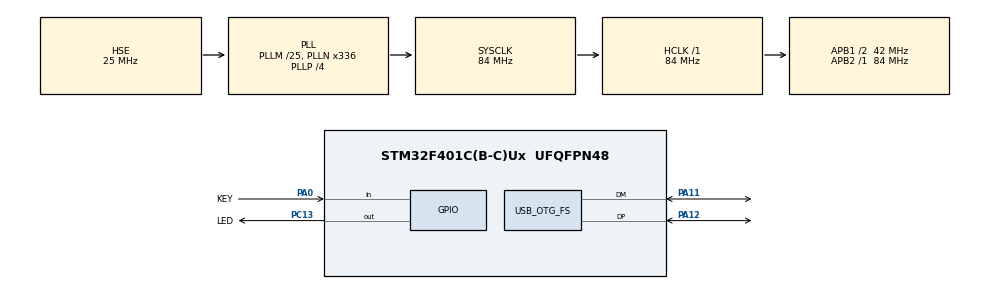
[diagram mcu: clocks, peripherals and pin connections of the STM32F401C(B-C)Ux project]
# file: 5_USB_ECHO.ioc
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Mcu.Family=STM32F4
Mcu.Name=STM32F401C(B-C)Ux
Mcu.Package=UFQFPN48
NVIC.OTG_FS_IRQn=true\:0\:0\:false\:false\:true\:false\:true
NVIC.PriorityGroup=NVIC_PRIORITYGROUP_4
PA0-WKUP.GPIO_Label=KEY
PA0-WKUP.GPIO_PuPd=GPIO_PULLUP
PA0-WKUP.Signal=GPIO_Input
PA11.Mode=Device_Only
PA11.Signal=USB_OTG_FS_DM
PA12.Mode=Device_Only
PA12.Signal=USB_OTG_FS_DP
PA13.Mode=Serial_Wire
PA13.Signal=SYS_JTMS-SWDIO
PA14.Mode=Serial_Wire
PA14.Signal=SYS_JTCK-SWCLK
PC13-ANTI_TAMP.GPIO_Label=LED
PC13-ANTI_TAMP.PinState=GPIO_PIN_SET
PC13-ANTI_TAMP.Signal=GPIO_Output
PH0\ -\ OSC_IN.Mode=HSE-External-Oscillator
PH0\ -\ OSC_IN.Signal=RCC_OSC_IN
PH1\ -\ OSC_OUT.Mode=HSE-External-Oscillator
PH1\ -\ OSC_OUT.Signal=RCC_OSC_OUT
ProjectManager.HeapSize=0x200
ProjectManager.StackSize=0x400
ProjectManager.TargetToolchain=STM32CubeIDE
RCC.48MHZClocksFreq_Value=48000000
RCC.AHBFreq_Value=84000000
RCC.APB1CLKDivider=RCC_HCLK_DIV2
RCC.APB1Freq_Value=42000000
RCC.APB1TimFreq_Value=84000000
RCC.APB2Freq_Value=84000000
RCC.APB2TimFreq_Value=84000000
RCC.CortexFreq_Value=84000000
RCC.HCLKFreq_Value=84000000
RCC.HSE_VALUE=25000000
RCC.HSI_VALUE=16000000
RCC.LSE_VALUE=32768
RCC.PLLM=25
RCC.PLLN=336
RCC.PLLP=RCC_PLLP_DIV4
RCC.PLLQ=7
RCC.SYSCLKFreq_VALUE=84000000
RCC.SYSCLKSource=RCC_SYSCLKSOURCE_PLLCLK
RCC.VCOOutputFreq_Value=336000000
USB_DEVICE.CLASS_NAME_FS=CDC
USB_DEVICE.VirtualMode=Cdc
USB_DEVICE.VirtualModeFS=Cdc_FS
USB_OTG_FS.VirtualMode=Device_Only
VP_USB_DEVICE_VS_USB_DEVICE_CDC_FS.Mode=CDC_FS
board=custom

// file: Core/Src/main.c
/* USER CODE BEGIN Header */
/**
  ******************************************************************************
  * @file           : main.c
  * @brief          : Main program body
  ******************************************************************************
  * @attention
  *
  * Copyright (c) 2022 STMicroelectronics.
  * All rights reserved.
  *
  * This software is licensed under terms that can be found in the LICENSE file
  * in the root directory of this software component.
  * If no LICENSE file comes with this software, it is provided AS-IS.
  *
  ******************************************************************************
  */
/* USER CODE END Header */
#include "main.h"
#include "usb_device.h"
#include "gpio.h"

/* USER CODE BEGIN Includes */
#include "string.h"
/* USER CODE END Includes */

/* USER CODE BEGIN PV */
uint8_t buffer[64];
uint8_t *data = "Hello ARM\n";
uint8_t sFlag = 0;
/* USER CODE END PV */

void SystemClock_Config(void);

/* USER CODE BEGIN 0 */
void HAL_IncTick(void)
{
	uwTick += uwTickFreq;

	if (uwTick % 1000 == 0) {
		sFlag = 1;
	}
}
/* USER CODE END 0 */

int main(void)
{

  /* MCU Configuration--------------------------------------------------------*/

  /* Reset of all peripherals, Initializes the Flash interface and the Systick. */
  HAL_Init();

  /* Configure the system clock */
  SystemClock_Config();

  /* Initialize all configured peripherals */
  MX_GPIO_Init();
  MX_USB_DEVICE_Init();

  /* Infinite loop */
  /* USER CODE BEGIN WHILE */
  while (1)
  {
	  if (buffer[0] == '1') {
		  HAL_GPIO_WritePin(LED_GPIO_Port, LED_Pin, GPIO_PIN_RESET);
	  } else {
		  HAL_GPIO_WritePin(LED_GPIO_Port, LED_Pin, GPIO_PIN_SET);
	  }

	  if (sFlag) {
		  sFlag = 0;

		  CDC_Transmit_FS(data, strlen(data));
	  }
    /* USER CODE END WHILE */

    /* USER CODE BEGIN 3 */
	  __NOP();
  }
  /* USER CODE END 3 */
}

void SystemClock_Config(void)
{
  RCC_OscInitTypeDef RCC_OscInitStruct = {0};
  RCC_ClkInitTypeDef RCC_ClkInitStruct = {0};

  /** Configure the main internal regulator output voltage
  */
  __HAL_RCC_PWR_CLK_ENABLE();
  __HAL_PWR_VOLTAGESCALING_CONFIG(PWR_REGULATOR_VOLTAGE_SCALE2);
  /** Initializes the RCC Oscillators according to the specified parameters
  * in the RCC_OscInitTypeDef structure.
  */
  RCC_OscInitStruct.OscillatorType = RCC_OSCILLATORTYPE_HSE;
  RCC_OscInitStruct.HSEState = RCC_HSE_ON;
  RCC_OscInitStruct.PLL.PLLState = RCC_PLL_ON;
  RCC_OscInitStruct.PLL.PLLSource = RCC_PLLSOURCE_HSE;
  RCC_OscInitStruct.PLL.PLLM = 25;
  RCC_OscInitStruct.PLL.PLLN = 336;
  RCC_OscInitStruct.PLL.PLLP = RCC_PLLP_DIV4;
  RCC_OscInitStruct.PLL.PLLQ = 7;
  if (HAL_RCC_OscConfig(&RCC_OscInitStruct) != HAL_OK)
  {
    Error_Handler();
  }
  /** Initializes the CPU, AHB and APB buses clocks
  */
  RCC_ClkInitStruct.ClockType = RCC_CLOCKTYPE_HCLK|RCC_CLOCKTYPE_SYSCLK
                              |RCC_CLOCKTYPE_PCLK1|RCC_CLOCKTYPE_PCLK2;
  RCC_ClkInitStruct.SYSCLKSource = RCC_SYSCLKSOURCE_PLLCLK;
  RCC_ClkInitStruct.AHBCLKDivider = RCC_SYSCLK_DIV1;
  RCC_ClkInitStruct.APB1CLKDivider = RCC_HCLK_DIV2;
  RCC_ClkInitStruct.APB2CLKDivider = RCC_HCLK_DIV1;

  if (HAL_RCC_ClockConfig(&RCC_ClkInitStruct, FLASH_LATENCY_2) != HAL_OK)
  {
    Error_Handler();
  }
}

void Error_Handler(void)
{
  __disable_irq();
  while (1)
  {
  }
}
